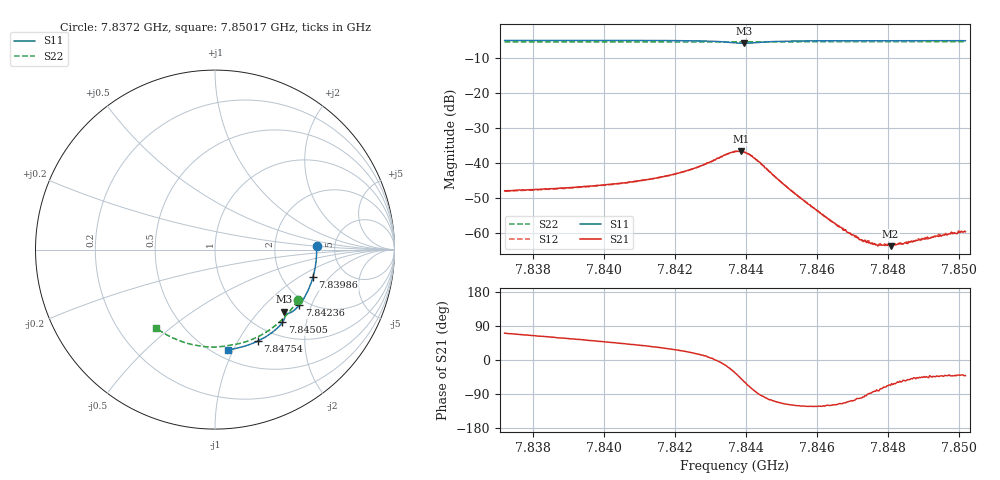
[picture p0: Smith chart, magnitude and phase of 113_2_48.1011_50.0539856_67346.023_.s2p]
#  HZ  S  RI  R  50.00
! Rohde & Schwarz Vector Network Analyzer
! Rohde-Schwarz,ZNB20-2Port,1311601062101988,3.16
! Created: UTC 12/23/2023, 3:46:00 AM
! freq[Hz]  re:S11  im:S11  re:S21  im:S21  re:S12  im:S12  re:S22  im:S22
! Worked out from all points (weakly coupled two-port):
!   401 points, 7.8372 GHz to 7.85017 GHz, reference 50 ohm
!   highest |S21| = -36.67 dB at 7.84385 GHz (marker M1); lowest = -63.9 dB at 7.84806 GHz (marker M2)
!   lowest |S11| = -5.7 dB at 7.84394 GHz (marker M3), VSWR 3.14, Z = 73.2 - j69.2 ohm
!   |S11| at or under -10 dB: nowhere
!   |S22| runs from -5.4 to -5.3 dB; largest |S21 - S12| = 0.00031
!   S11 on the Smith chart (normalised r, x): 7.8372 GHz: 3.60, +0.23; 7.83986 GHz: 2.95, -1.34; 7.84236 GHz: 1.82, -1.64; 7.84505 GHz: 1.25, -1.46; 7.84754 GHz: 0.81, -1.21; 7.85017 GHz: 0.58, -0.95
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7.837203e9  0.566 0.0221  0.0013 0.00376  0.00132 0.0037  0.4599 -0.2824
7.839375e9  0.5538 -0.1218  0.00272 0.00364  0.00268 0.00363  0.3637 -0.3997
7.839861e9  0.5457 -0.1535  0.0031 0.00359  0.00304 0.00356  0.3379 -0.422
7.841546e9  0.502 -0.2602  0.00519 0.00338  0.00512 0.00335  0.2385 -0.4859
7.842357e9  0.4697 -0.3091  0.00726 0.00283  0.0072 0.00282  0.186 -0.5082
7.843199e9  0.4201 -0.3516  0.0115 -0.000498  0.0117 -0.00047  0.129 -0.525
7.843686e9  0.3862 -0.3536  0.0121 -0.00817  0.012 -0.00794  0.0966 -0.5304
7.843848e9  0.3822 -0.3486  0.00971 -0.011  0.00971 -0.0108  0.0862 -0.5321
7.843945e9  0.3827 -0.3466  0.00762 -0.012  0.00771 -0.0118  0.0801 -0.5331
7.844107e9  0.3867 -0.3476  0.00415 -0.0124  0.00426 -0.0123  0.0698 -0.535
7.844366e9  0.3917 -0.3597  -7.53e-05 -0.0103  -4.18e-05 -0.0102  0.0527 -0.5381
7.845047e9  0.3755 -0.4052  -0.00209 -0.0045  -0.00207 -0.00453  0.00504 -0.5427
7.845857e9  0.3356 -0.4481  -0.00124 -0.00197  -0.00124 -0.00196  -0.0522 -0.541
7.846894e9  0.2769 -0.4893  -0.000333 -0.000926  -0.000344 -0.000914  -0.1243 -0.53
7.847251e9  0.2557 -0.5011  -0.000137 -0.000772  -0.000125 -0.000765  -0.1486 -0.5239
7.847543e9  0.238 -0.5099  5.8e-05 -0.000696  3.43e-05 -0.000711  -0.1683 -0.5179
7.847705e9  0.2283 -0.5146  9.46e-05 -0.000637  0.000146 -0.000676  -0.179 -0.5144
7.848029e9  0.2081 -0.5231  0.000274 -0.000602  0.000273 -0.000617  -0.2005 -0.5068
7.848061e9  0.2061 -0.5237  0.000248 -0.000588  0.000313 -0.000593  -0.2024 -0.5059
7.848385e9  0.1858 -0.5314  0.000374 -0.000572  0.000383 -0.000567  -0.2236 -0.4972
7.849714e9  0.1 -0.5538  0.000746 -0.000606  0.00072 -0.00062  -0.3053 -0.4525
7.850168e9  0.0702 -0.558  0.000773 -0.000676  0.000783 -0.000695  -0.3313 -0.4343
